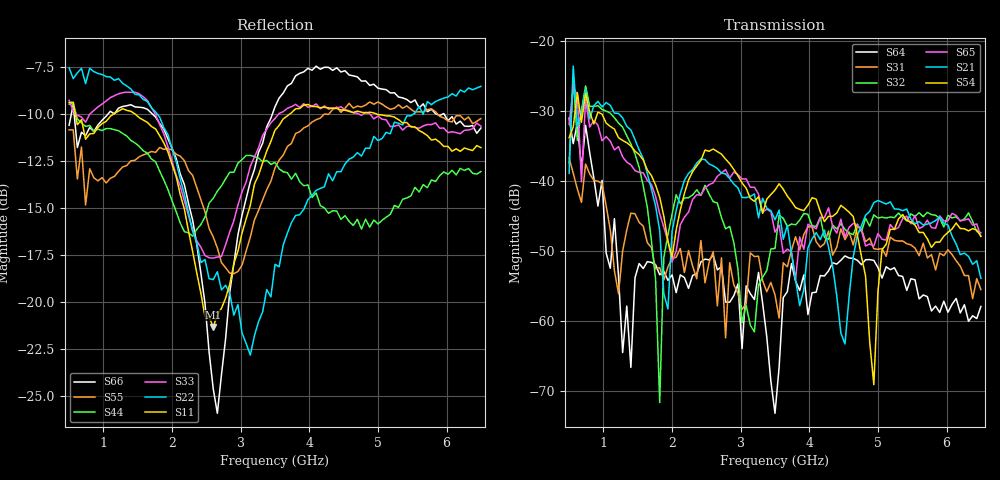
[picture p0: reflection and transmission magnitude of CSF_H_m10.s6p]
!Keysight Technologies,M9804A,MY58100912,A.14.10.03
!Date: Thursday, April 27, 2023 10:28:33
!Correction: S11(C  6-Port  )
!S12(C  6-Port  )
!S13(C  6-Port  )
!S14(C  6-Port  )
!S15(C  6-Port  )
!S16(C  6-Port  )
!S21(C  6-Port  )
!S22(C  6-Port  )
!S23(C  6-Port  )
!S24(C  6-Port  )
!S25(C  6-Port  )
!S26(C  6-Port  )
!S31(C  6-Port  )
!S32(C  6-Port  )
!S33(C  6-Port  )
!S34(C  6-Port  )
!S35(C  6-Port  )
!S36(C  6-Port  )
!S41(C  6-Port  )
!S42(C  6-Port  )
!S43(C  6-Port  )
!S44(C  6-Port  )
!S45(C  6-Port  )
!S46(C  6-Port  )
!S51(C  6-Port  )
!S52(C  6-Port  )
!S53(C  6-Port  )
!S54(C  6-Port  )
!S55(C  6-Port  )
!S56(C  6-Port  )
!S61(C  6-Port  )
!S62(C  6-Port  )
!S63(C  6-Port  )
!S64(C  6-Port  )
!S65(C  6-Port  )
!S66(C  6-Port  )
!S6P File: Measurement: :
# Hz S  RI  R 50
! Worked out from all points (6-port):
!   101 points, 500 MHz to 6.5 GHz, reference 50 ohm
!   strongest paths, dB at 500 MHz, 2 GHz, 3.5 GHz, 5 GHz, 6.5 GHz:
!     S54: -33.8, -50.9, -41.3, -55.8, -47.9
!     S21: -38.9, -47.2, -45.5, -42.8, -53.9
!     S65: -31.9, -51.5, -47.3, -47.5, -47.9
!     S32: -37.5, -44.7, -49.6, -45.3, -47.4
!     S31: -36.7, -51.0, -56.3, -49.8, -55.5
!     S64: -31.0, -53.4, -73.2, -52.4, -57.9
!   lowest |S11| = -21.3 dB at 2.6 GHz (marker M1), VSWR 1.19, Z = 42.4 + j2.27 ohm
!   |S11| at or under -10 dB: 592.5 MHz to 1.14 GHz (547.6 MHz wide, 63.2 % of centre); 1.466 GHz to 3.708 GHz (2.242 GHz wide, 86.7 % of centre); 4.992 GHz to end of sweep
